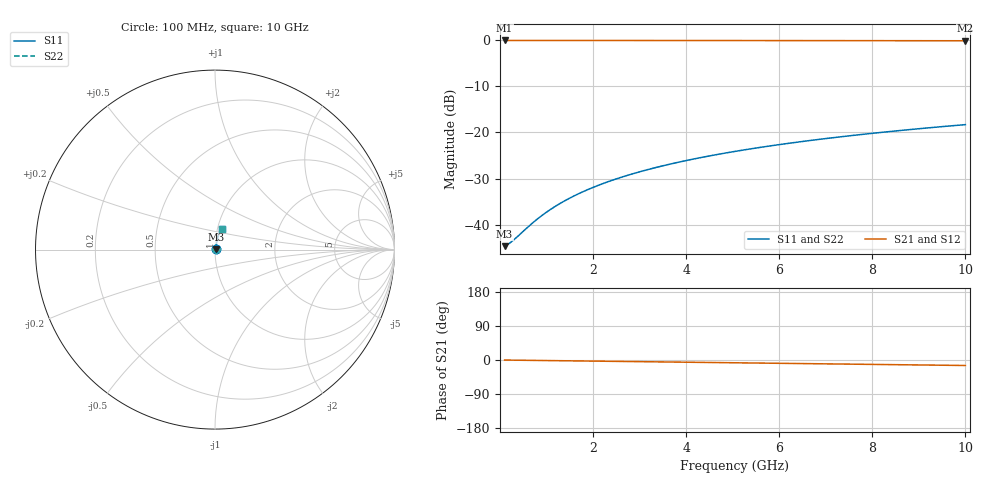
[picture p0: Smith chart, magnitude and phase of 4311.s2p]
# Hz S RI R 50.00
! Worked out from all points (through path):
!   100 points, 100 MHz to 10 GHz, reference 50 ohm
!   highest |S21| = -0.05 dB at 100 MHz (marker M1); lowest = -0.1 dB at 10 GHz (marker M2)
!   group delay of S21, straight-line fit = 4.03 ps
!   lowest |S11| = -44.7 dB at 100 MHz (marker M3), VSWR 1.01, Z = 50.6 + j0.123 ohm
!   |S11| at or under -10 dB: start of sweep to end of sweep
!   |S22| runs from -44.7 to -18.3 dB; largest |S21 - S12| = 0
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1e8  0.00571 0.00122  0.9943 -0.00252  0.9943 -0.00252  0.00571 0.00122
2e8  0.00575 0.00243  0.9942 -0.00505  0.9942 -0.00505  0.00575 0.00243
3e8  0.0058 0.00365  0.9942 -0.00757  0.9942 -0.00757  0.0058 0.00365
7e8  0.00599 0.00851  0.994 -0.0177  0.994 -0.0177  0.00599 0.00851
8e8  0.00605 0.00973  0.9939 -0.0202  0.9939 -0.0202  0.00605 0.00973
1e9  0.00619 0.0122  0.9937 -0.0252  0.9937 -0.0252  0.00619 0.0122
1.2e9  0.00634 0.0146  0.9935 -0.0303  0.9935 -0.0303  0.00634 0.0146
1.4e9  0.00652 0.017  0.9933 -0.0353  0.9933 -0.0353  0.00652 0.017
1.6e9  0.00673 0.0194  0.993 -0.0404  0.993 -0.0404  0.00673 0.0194
1.8e9  0.00695 0.0219  0.9927 -0.0454  0.9927 -0.0454  0.00695 0.0219
2.1e9  0.00734 0.0255  0.9923 -0.0529  0.9923 -0.0529  0.00734 0.0255
2.5e9  0.00793 0.0303  0.9915 -0.063  0.9915 -0.063  0.00793 0.0303
2.9e9  0.00862 0.0351  0.9906 -0.073  0.9906 -0.073  0.00862 0.0351
3.4e9  0.00962 0.0411  0.9894 -0.0856  0.9894 -0.0856  0.00962 0.0411
3.8e9  0.0105 0.0459  0.9882 -0.0956  0.9882 -0.0956  0.0105 0.0459
4.2e9  0.0115 0.0506  0.9869 -0.1056  0.9869 -0.1056  0.0115 0.0506
5.1e9  0.0141 0.0612  0.9836 -0.1279  0.9836 -0.1279  0.0141 0.0612
5.9e9  0.0168 0.0705  0.9801 -0.1477  0.9801 -0.1477  0.0168 0.0705
6.7e9  0.0199 0.0797  0.9761 -0.1674  0.9761 -0.1674  0.0199 0.0797
7.5e9  0.0234 0.0887  0.9717 -0.1869  0.9717 -0.1869  0.0234 0.0887
8.4e9  0.0277 0.0987  0.9662 -0.2087  0.9662 -0.2087  0.0277 0.0987
1e10  0.0364 0.1159  0.9548 -0.2469  0.9548 -0.2469  0.0364 0.1159
